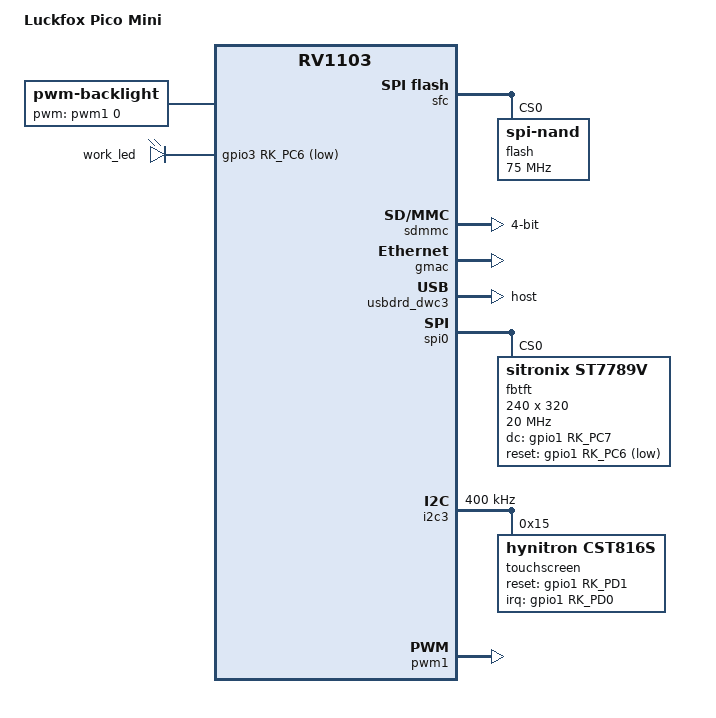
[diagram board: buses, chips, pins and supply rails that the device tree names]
// SPDX-License-Identifier: (GPL-2.0+ OR MIT)
/*
 * Copyright (c) 2023 Luckfox Electronics Co., Ltd.
 */

/dts-v1/;

#include "rv1103.dtsi"
#include "rv1106-evb.dtsi"
#include "rv1103-luckfox-pico-ipc.dtsi"

/ {
	model = "Luckfox Pico Mini";
	compatible = "rockchip,rv1103g-38x38-ipc-v10", "rockchip,rv1103";

	backlight: backlight {
		status = "okay";
		compatible = "pwm-backlight";
		pwms = <&pwm1 0 100000 50000>;
		brightness-levels = <
			  0   1   2   3   4   5   6   7
			  8   9  10  11  12  13  14  15
			 16  17  18  19  20  21  22  23
			 24  25  26  27  28  29  30  31
			 32  33  34  35  36  37  38  39
			 40  41  42  43  44  45  46  47
			 48  49  50  51  52  53  54  55
			 56  57  58  59  60  61  62  63
			 64  65  66  67  68  69  70  71
			 72  73  74  75  76  77  78  79
			 80  81  82  83  84  85  86  87
			 88  89  90  91  92  93  94  95
			 96  97  98  99 100 101 102 103
			104 105 106 107 108 109 110 111
			112 113 114 115 116 117 118 119
			120 121 122 123 124 125 126 127
			128 129 130 131 132 133 134 135
			136 137 138 139 140 141 142 143
			144 145 146 147 148 149 150 151
			152 153 154 155 156 157 158 159
			160 161 162 163 164 165 166 167
			168 169 170 171 172 173 174 175
			176 177 178 179 180 181 182 183
			184 185 186 187 188 189 190 191
			192 193 194 195 196 197 198 199
			200 201 202 203 204 205 206 207
			208 209 210 211 212 213 214 215
			216 217 218 219 220 221 222 223
			224 225 226 227 228 229 230 231
			232 233 234 235 236 237 238 239
			240 241 242 243 244 245 246 247
			248 249 250 251 252 253 254 255>;
		default-brightness-level = <100>;
	};

	
};

&pinctrl {
	lcd_pins {
		lcd_dc:lcd-dc {
			rockchip,pins = <1 RK_PC7 RK_FUNC_GPIO &pcfg_pull_none>;
		};

//		lcd_ctrl:lcd-ctrl {
//			rockchip,pins = <0 RK_PA4 RK_FUNC_GPIO &pcfg_pull_none>;
//		};

		lcd_rst:lcd-rst {
			rockchip,pins = <1 RK_PC6 RK_FUNC_GPIO &pcfg_pull_none>;
		};
	};

	hynitron_cst816s_pins {
		hynitron_cst816s_int: hynitron-cst816s-int {
			rockchip,pins = <1 RK_PD0 RK_FUNC_GPIO &pcfg_pull_up>;
		};
	};

	work_led_pins {
		work_led_pin:work-led-pin {
			rockchip,pins = <3 RK_PC6 RK_FUNC_GPIO &pcfg_pull_none>;
		};
	};
};

&leds {
	pinctrl-names = "default";
	pinctrl-0 = <&work_led_pin>;

	compatible = "gpio-leds";
	work_led: work {
		gpios = <&gpio3 RK_PC6 GPIO_ACTIVE_LOW>;
		linux,default-trigger = "activity";
		default-state = "on";
	};
};

/**********SFC**********/
&sfc {
	status = "okay";
	flash@0 {
		compatible = "spi-nand";
		reg = <0>;
		spi-max-frequency = <75000000>;
		spi-rx-bus-width = <4>;
		spi-tx-bus-width = <1>;
	};
};

/**********SDMMC**********/
&sdmmc {
	max-frequency = <50000000>;
	no-sdio;
	no-mmc;
	bus-width = <4>;
	cap-mmc-highspeed;
	cap-sd-highspeed;
	disable-wp;
	pinctrl-names = "default";
	pinctrl-0 = <&sdmmc0_clk &sdmmc0_cmd &sdmmc0_det &sdmmc0_bus4>;
	status = "okay";
};

/**********ETH**********/
&gmac {
	status = "okay";
};

/**********USB**********/
&usbdrd_dwc3 {
	status = "okay";
	dr_mode = "host";
};

/**********SPI**********/
/* SPI0_M0 */
&spi0 {
	status = "okay";
	spidev@0 {
		spi-max-frequency = <50000000>;
		status = "disabled";
	};

	fbtft@0 {
		pinctrl-names = "default";
		pinctrl-0 = <&lcd_dc &lcd_rst>;

		compatible = "sitronix,st7789v";
		reg = <0>;
		spi-max-frequency = <20000000>;
		fps = <30>;
		buswidth = <8>;
		debug = <0x7>;
		width = <240>;
		height = <320>;
		//!led-gpios = <&gpio0 RK_PA4 GPIO_ACTIVE_HIGH>; //ctrl
		dc-gpios = <&gpio1 RK_PC7 GPIO_ACTIVE_HIGH>;  //DC
		reset-gpios = <&gpio1 RK_PC6 GPIO_ACTIVE_LOW>;//RES

		status = "okay";
	};
};

/**********I2C**********/
/* I2C3_M1 */
&i2c3 {
//	pinctrl-names = "default";
//	pinctrl-0 = <&i2c3m2_xfer>;
	status = "okay";
	clock-frequency = <400000>;

	#address-cells = <1>;
	#size-cells = <0>;
	touchscreen@15 {
		pinctrl-names = "default";
		pinctrl-0 = <&hynitron_cst816s_int>;

		compatible = "hynitron,cst816s";
		reg = <0x15>;

		interrupt-parent = <&gpio1>;
		interrupts = <RK_PD0 IRQ_TYPE_EDGE_RISING>;

		reset-gpios = <&gpio1 RK_PD1 GPIO_ACTIVE_HIGH>;

		status = "okay";
	};
};

/**********UART**********/
/* UART3_M1 */
&uart3 {
	status = "disabled";
};

/* UART4_M1 */
&uart4 {
	status = "disabled";
};

/**********PWM**********/
/* PWM1_M0 */
&pwm1 {
	status = "okay";
	pinctrl-names = "active";
	pinctrl-0 = <&pwm1m0_pins>;
};
